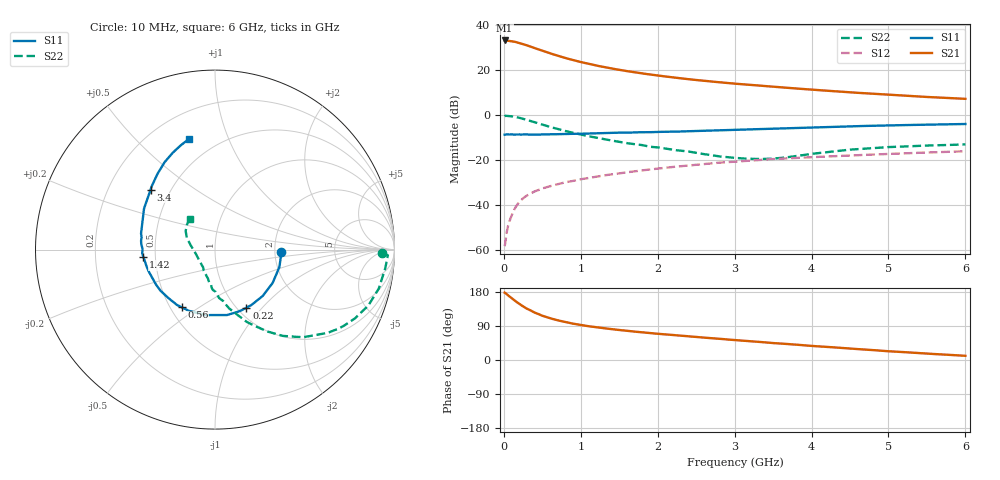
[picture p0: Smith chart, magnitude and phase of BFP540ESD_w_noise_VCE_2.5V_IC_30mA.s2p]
! Infineon Technologies  Discrete & RF Semiconductors
! BFP540ESD
! VCE =  2.5 V,  IC =  30 mA
! Common Emitter S-Parameters:  Nov 2015
# GHz  S  MA  R  50
!  f  S11  S21  S12  S22
! GHz  MAG  ANG  MAG  ANG  MAG  ANG  MAG  ANG
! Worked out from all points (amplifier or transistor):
!   210 points, 10 MHz to 6 GHz, reference 50 ohm
!   highest |S21| = 33.2 dB at 10 MHz (marker M1)
!   |S21| within 3 dB of that: start of sweep to 366.8 MHz
!   unconditionally stable (mu >= 1): 1.841 GHz to end of sweep
!   at 185 MHz: K = 0.26, MSG = 35.8 dB, |S12| = -39.4 dB
!   at 1.52 GHz: K = 0.95, MSG = 22.9 dB, |S12| = -25.8 dB
!   at 6 GHz: K = 1.11, MAG = 9.7 dB, |S12| = -16.1 dB
!   lowest NFmin = 1.41 dB at 900 MHz
!   S11 on the Smith chart (normalised r, x): 10 MHz: 2.15, -0.08; 220 MHz: 1.10, -0.82; 560 MHz: 0.57, -0.43; 1.42 GHz: 0.43, -0.04; 3.4 GHz: 0.39, +0.34; 6 GHz: 0.35, +0.73
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0.01  0.3653 -2.5  45.88 177.8  0.0012 111.8  0.9331 -1.1
0.02  0.3689 -6.4  45.64 176.7  0.0015 90.9  0.9638 -1.9
0.05  0.3717 -15.0  45.28 171.4  0.0031 88.9  0.9543 -6.3
0.1  0.3711 -30.1  44.27 163.2  0.0057 77.9  0.938 -13.4
0.15  0.3707 -44.4  42.6 155.3  0.0087 76.0  0.9097 -20.0
0.2  0.3695 -57.0  40.44 148.1  0.0115 76.7  0.8693 -26.1
0.22  0.3679 -61.6  39.43 145.5  0.0125 74.1  0.8514 -28.3
0.3  0.3706 -79.7  35.71 135.4  0.0161 70.2  0.7803 -36.5
0.4  0.3682 -97.7  31.05 125.1  0.0199 67.5  0.6921 -44.9
0.5  0.3709 -113.1  27.14 116.8  0.0231 64.7  0.6119 -51.8
0.56  0.371 -120.0  25.02 113.0  0.0248 63.8  0.5711 -54.8
0.6  0.3741 -124.6  23.67 110.1  0.026 63.2  0.5449 -57.1
0.7  0.3747 -134.0  20.98 104.7  0.0288 61.6  0.489 -61.7
0.8  0.3803 -143.0  18.62 99.9  0.0318 61.3  0.441 -66.2
1.02  0.3837 -156.8  14.89 91.8  0.0376 61.2  0.361 -73.4
1.42  0.4018 -174.3  10.75 81.1  0.0484 59.5  0.2676 -85.5
2.02  0.422 167.3  7.51 68.9  0.0646 56.0  0.1887 -99.6
3.1  0.4715 142.8  4.852 51.2  0.094 47.3  0.1082 -138.8
3.4  0.4909 137.0  4.405 46.5  0.1018 44.6  0.1055 -157.6
4.1  0.5361 125.6  3.581 35.9  0.1172 38.1  0.1425 167.4
5.1  0.5931 112.4  2.778 22.0  0.1382 28.6  0.1961 145.7
6  0.6318 103.5  2.297 11.0  0.156 21.5  0.2218 129.2
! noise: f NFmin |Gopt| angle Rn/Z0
0.9  1.41  0.38  -138  0.12
1.8  1.56  0.4  -142  0.12
2.4  1.58  0.41  -133  0.14
3  1.7  0.43  -126  0.17
4  1.76  0.52  -104  0.29
5  1.88  0.59  -87  0.46
6  2.22  0.57  -86  0.68
